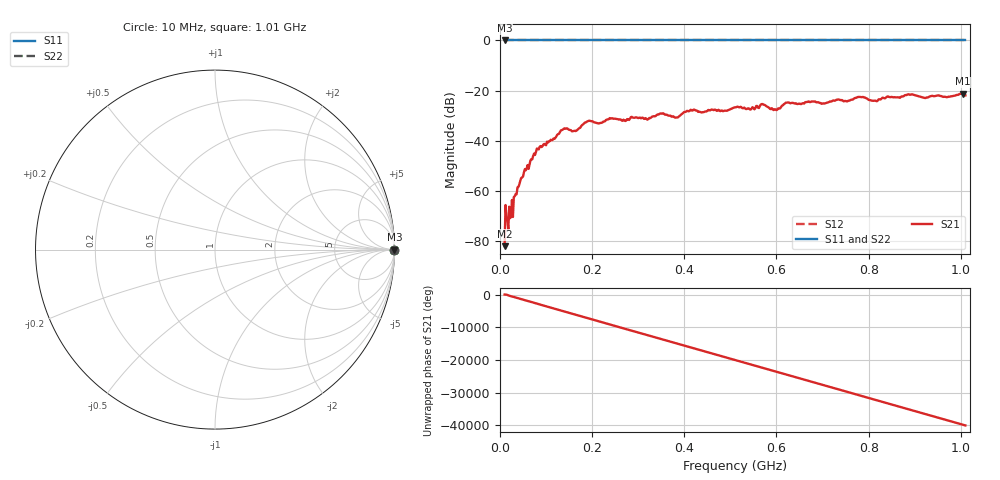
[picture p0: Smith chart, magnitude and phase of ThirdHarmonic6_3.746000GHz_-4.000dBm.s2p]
! 8/17/2025 12:50:05 PM
! C:\ANRITSUVNA\TEMP\TEMP.S2P
! CHANNEL.1
! TR.MEASUREMENT
! RAW.DATA
! RF.CORRECTION.OFF
! AVERAGING.OFF
! IF.BANDWIDTH: 5KHZ
! SWEEPTYPE:  FREQ.SWEEP(Linear)
! Reference Plane Port Info
! PORT:  PORT1  PORT2
! DISTANCE:  0  m  0  m
! TIME:  0  s  0  s
! PHASE.OFFSET:  0  deg.  0  deg.
! LOSS:  0  dB  0  dB
! REF.LOSS:  0  dB  0  dB
! REF.FREQ:  0  Hz  0  Hz
! Power Info
! POWER:  -20  dBm  -20  dBm
! EFF.POWER:  -20  dBm  -20  dBm
! SOURCE.ATTEN:  0  dB  0  dB
! TEST.ATTEN:  0  dB  0  dB
# GHZ S RI R 50.0
! FREQ.GHZ  S11RE  S11IM  S21RE  S21IM  S12RE  S12IM  S22RE  S22IM
!; PortSelection: Port_12
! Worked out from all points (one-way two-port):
!   501 points, 10 MHz to 1.01 GHz, reference 50 ohm
!   highest |S21| = -21.22 dB at 1.004 GHz (marker M1); lowest = -82.0 dB at 10 MHz (marker M2)
!   lowest |S11| = 0.0 dB at 10 MHz (marker M3)
!   |S11| at or under -10 dB: nowhere
!   |S22| runs from 0.0 to 0.0 dB; largest |S21 - S12| = 1.1
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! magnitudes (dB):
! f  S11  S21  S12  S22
! 10 MHz  0.0  -82.0  0.0  0.0
! 16 MHz  0.0  -71.1  0.0  0.0
! 20 MHz  0.0  -66.3  0.0  0.0
! 42 MHz  0.0  -57.4  0.0  0.0
! 78 MHz  0.0  -44.5  0.0  0.0
! 136 MHz  0.0  -35.6  0.0  0.0
! 162 MHz  0.0  -36.0  0.0  0.0
! 178 MHz  0.0  -33.7  0.0  0.0
! 192 MHz  0.0  -32.1  0.0  0.0
! 318 MHz  0.0  -31.3  0.0  0.0
! 344 MHz  0.0  -29.6  0.0  0.0
! 382 MHz  0.0  -30.7  0.0  0.0
! 418 MHz  0.0  -27.9  0.0  0.0
! 510 MHz  0.0  -26.7  0.0  0.0
! 570 MHz  0.0  -25.3  0.0  0.0
! 598 MHz  0.0  -27.5  0.0  0.0
! 622 MHz  0.0  -24.8  0.0  0.0
! 678 MHz  0.0  -24.3  0.0  0.0
! 814 MHz  0.0  -24.0  0.0  0.0
! 844 MHz  0.0  -22.5  0.0  0.0
! 1.004 GHz  0.0  -21.2  0.0  0.0
! 1.01 GHz  0.0  -21.9  0.0  0.0
